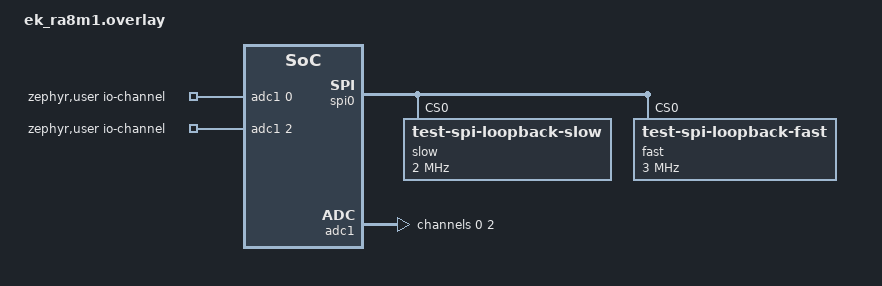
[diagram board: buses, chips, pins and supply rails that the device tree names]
/*
 * Copyright (c) 2025 Renesas Electronics Corporation
 *
 * SPDX-License-Identifier: Apache-2.0
 */

tst_dma0: &dma0 {};

&dma0 {
	status = "okay";
	interrupts = <95 1>, <94 1>, <93 1>;
	interrupt-names = "ch0", "ch1", "ch2";
};

#include <zephyr/dt-bindings/clock/ra_clock.h>

&pinctrl {
	spi0_default: spi0_default {
		group1 {
			psels = <RA_PSEL(RA_PSEL_SPI, 6, 9)>,
				<RA_PSEL(RA_PSEL_SPI, 6, 11)>,
				<RA_PSEL(RA_PSEL_SPI, 6, 10)>,
				<RA_PSEL(RA_PSEL_SPI, 6, 12)>;
		};
	};
};

&spi0 {
	rx-dtc;
	tx-dtc;
	pinctrl-0 = <&spi0_default>;
	pinctrl-names = "default";
	status = "okay";
	slow@0 {
		compatible = "test-spi-loopback-slow";
		reg = <0>;
		spi-max-frequency = <2000000>;
	};
	fast@0 {
		compatible = "test-spi-loopback-fast";
		reg = <0>;
		spi-max-frequency = <3000000>;
	};
};

/ {
	zephyr,user {
		io-channels = <&adc1 0>, <&adc1 2>;
	};
};

&pinctrl {
	adc1_default: adc1_default {
		group1 {
			psels = <RA_PSEL(RA_PSEL_ADC, 0, 0)>;
			renesas,analog-enable;
		};
	};
};

&adc1 {
	pinctrl-0 = <&adc1_default>;
	pinctrl-names = "default";
	status = "okay";
	#address-cells = <1>;
	#size-cells = <0>;
	channel@0 {
		reg = <0>;
		zephyr,gain = "ADC_GAIN_1";
		zephyr,reference = "ADC_REF_INTERNAL";
		zephyr,resolution = <12>;
		zephyr,acquisition-time = <ADC_ACQ_TIME_DEFAULT>;
		zephyr,vref-mv = <3300>;
	};
	channel@2 {
		reg = <2>;
		zephyr,gain = "ADC_GAIN_1";
		zephyr,reference = "ADC_REF_INTERNAL";
		zephyr,resolution = <12>;
		zephyr,acquisition-time = <ADC_ACQ_TIME_DEFAULT>;
		zephyr,vref-mv = <3300>;
	};
};
